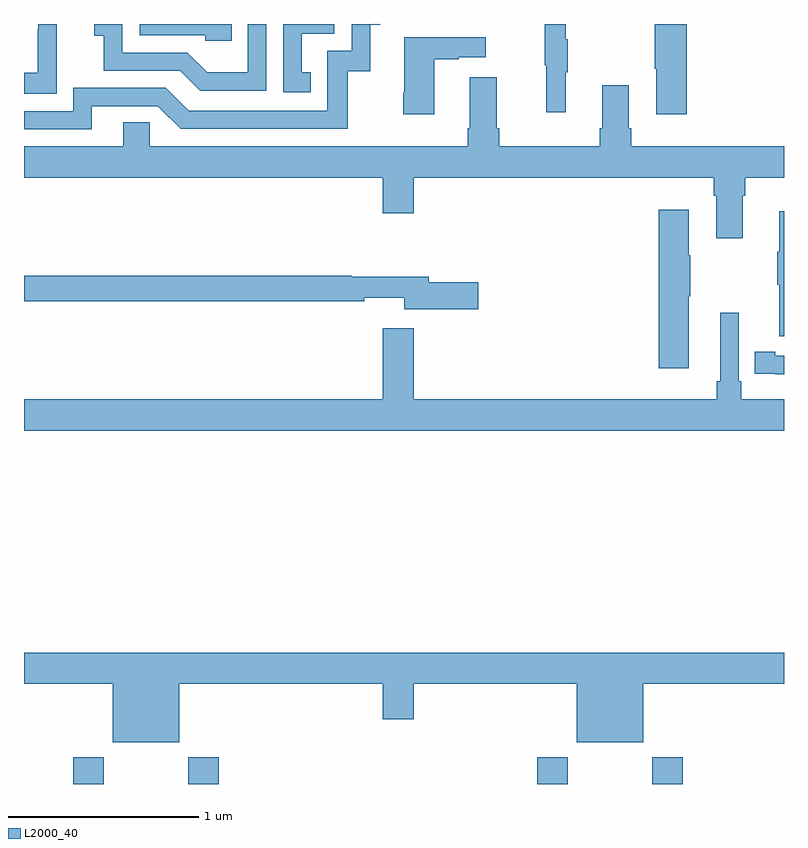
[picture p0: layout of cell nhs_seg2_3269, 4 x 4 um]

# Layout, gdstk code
import gdstk
lib = gdstk.Library(unit=1e-6, precision=1e-09)
def R(c, l, rs):  # rectangles x0, y0, x1, y1
    for r in rs: c.add(gdstk.rectangle(r[:2], r[2:], *l))
def P(c, l, *ps):  # polygons
    for p in ps: c.add(gdstk.Polygon(p, *l))
L2000_40 = (2000, 40)

nhs_seg2_3269 = lib.new_cell('nhs_seg2_3269')
R(nhs_seg2_3269, L2000_40, [(283.259,621.8,283.419,621.94), (283.864,621.8,284.024,621.94), (285.701,621.8,285.861,621.94), (286.306,621.8,286.466,621.94)])
P(nhs_seg2_3269, L2000_40, [(283.357,625.368),(283.704,625.368),(283.824,625.248),(284.704,625.248),(284.704,625.551),(284.822,625.551),(284.822,625.797),(284.875,625.797),(284.875,625.8),(284.724,625.8),(284.724,625.659),(284.595,625.659),(284.595,625.344),(283.866,625.344),(283.746,625.464),(283.26,625.464),(283.26,625.341),(283,625.341),(283,625.245),(283.357,625.245)],
  [(284.51,625.545),(284.461,625.545),(284.461,625.749),(284.634,625.749),(284.634,625.8),(284.364,625.8),(284.364,625.44),(284.51,625.44)],
  [(285.851,625.547),(285.862,625.547),(285.862,625.721),(285.851,625.721),(285.851,625.8),(285.517,625.8),(285.517,625.798),(285.741,625.798),(285.741,625.584),(285.748,625.584),(285.748,625.335),(285.851,625.335)],
  [(286.487,625.8),(286.321,625.8),(286.321,625.564),(286.328,625.564),(286.328,625.326),(286.487,625.326)],
  [(283.173,625.639),(283.172,625.639),(283.172,625.8),(283.074,625.8),(283.074,625.772),(283.073,625.772),(283.073,625.543),(283,625.543),(283,625.433),(283.173,625.433)],
  [(284.093,625.8),(283.608,625.8),(283.608,625.74),(283.953,625.74),(283.953,625.713),(284.093,625.713)],
  [(284.274,625.8),(284.178,625.8),(284.178,625.546),(283.964,625.546),(283.86,625.65),(283.518,625.65),(283.518,625.8),(283.371,625.8),(283.371,625.739),(283.42,625.739),(283.42,625.554),(283.823,625.554),(283.928,625.449),(284.274,625.449)],
  [(285.16,625.615),(285.287,625.615),(285.287,625.625),(285.43,625.625),(285.43,625.729),(285.002,625.729),(285.002,625.438),(284.995,625.438),(284.995,625.326),(285.16,625.326)],
  [(286.783,624.896),(286.796,624.896),(286.796,624.992),(287,624.992),(287,625.156),(286.196,625.156),(286.196,625.252),(286.183,625.252),(286.183,625.477),(286.043,625.477),(286.043,625.252),(286.031,625.252),(286.031,625.156),(285.5,625.156),(285.5,625.252),(285.487,625.252),(285.487,625.519),(285.347,625.519),(285.347,625.252),(285.335,625.252),(285.335,625.156),(283.662,625.156),(283.662,625.283),(283.523,625.283),(283.523,625.156),(283,625.156),(283,624.992),(284.888,624.992),(284.888,624.804),(285.052,624.804),(285.052,624.992),(286.631,624.992),(286.631,624.896),(286.643,624.896),(286.643,624.672),(286.783,624.672)],
  [(286.498,624.367),(286.506,624.367),(286.506,624.584),(286.498,624.584),(286.498,624.823),(286.34,624.823),(286.34,623.988),(286.498,623.988)],
  [(287,624.814),(286.976,624.814),(286.976,624.601),(286.965,624.601),(286.965,624.427),(286.976,624.427),(286.976,624.156),(287,624.156)],
  [(285.391,624.44),(285.13,624.44),(285.13,624.469),(284.726,624.469),(284.726,624.476),(283,624.476),(283,624.34),(284.792,624.34),(284.792,624.359),(285.002,624.359),(285.002,624.298),(285.391,624.298)],
  [(287,623.824),(286.775,623.824),(286.775,623.92),(286.761,623.92),(286.761,624.28),(286.664,624.28),(286.664,623.92),(286.645,623.92),(286.645,623.824),(285.052,623.824),(285.052,624.199),(284.888,624.199),(284.888,623.824),(283,623.824),(283,623.66),(287,623.66)],
  [(287,624.054),(286.954,624.054),(286.954,624.074),(286.846,624.074),(286.846,623.958),(286.954,623.958),(286.954,623.957),(287,623.957)],
  [(283.816,622.328),(284.888,622.328),(284.888,622.14),(285.052,622.14),(285.052,622.328),(285.908,622.328),(285.908,622.019),(286.258,622.019),(286.258,622.328),(287,622.328),(287,622.492),(283,622.492),(283,622.328),(283.466,622.328),(283.466,622.019),(283.816,622.019)])

lib.write_gds('nhs_seg2_3269.gds')
